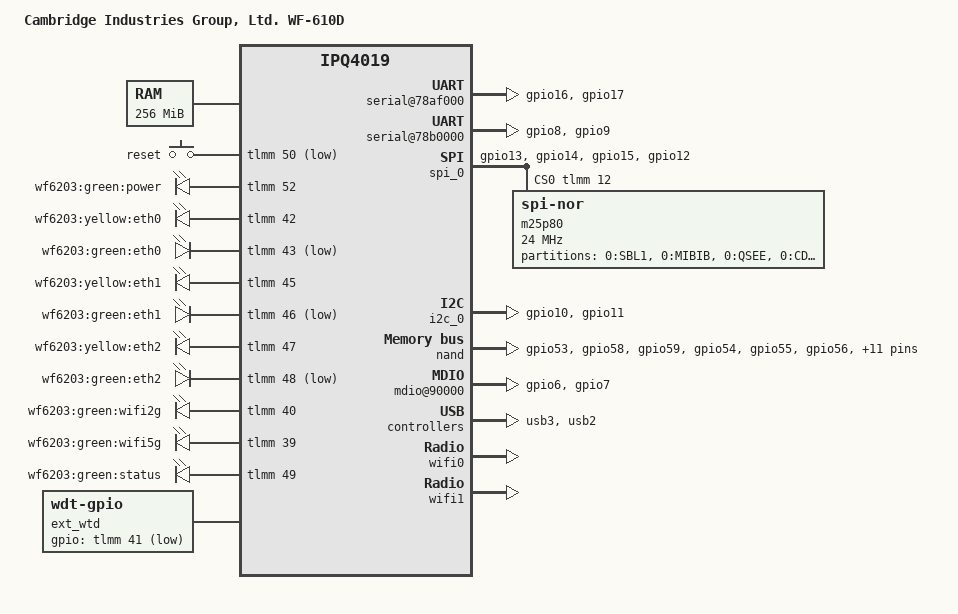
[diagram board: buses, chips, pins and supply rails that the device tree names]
/* Copyright (c) 2015, The Linux Foundation. All rights reserved.
 *
 * Permission to use, copy, modify, and/or distribute this software for any
 * purpose with or without fee is hereby granted, provided that the above
 * copyright notice and this permission notice appear in all copies.
 *
 * THE SOFTWARE IS PROVIDED "AS IS" AND THE AUTHOR DISCLAIMS ALL WARRANTIES
 * WITH REGARD TO THIS SOFTWARE INCLUDING ALL IMPLIED WARRANTIES OF
 * MERCHANTABILITY AND FITNESS. IN NO EVENT SHALL THE AUTHOR BE LIABLE FOR
 * ANY SPECIAL, DIRECT, INDIRECT, OR CONSEQUENTIAL DAMAGES OR ANY DAMAGES
 * WHATSOEVER RESULTING FROM LOSS OF USE, DATA OR PROFITS, WHETHER IN AN
 * ACTION OF CONTRACT, NEGLIGENCE OR OTHER TORTIOUS ACTION, ARISING OUT OF
 * OR IN CONNECTION WITH THE USE OR PERFORMANCE OF THIS SOFTWARE.
 *
 */
#include "qcom-ipq4019.dtsi"
#include <dt-bindings/input/input.h>
#include <dt-bindings/gpio/gpio.h>
#include <dt-bindings/soc/qcom,tcsr.h>

/ {
	model = "Cambridge Industries Group, Ltd. WF-610D";
	compatible = "cig,wf610d", "qcom,ipq4019";
	qcom,board-id = <8 0>;
	qcom,msm-id = <0x111 0>;
	qcom,pmic-id = <0 0 0 0>;

	memory {
		device_type = "memory";
		reg = <0x80000000 0x10000000>; /* 256MB */
	};

	chosen {
		bootargs-append = " clk_ignore_unused";
	};

	soc {
		pinctrl@1000000 {
			serial_0_pins: serial0_pinmux {
				mux {
					pins = "gpio16", "gpio17";
					function = "blsp_uart0";
					bias-disable;
				};
			};
	
			serial_1_pins: serial1_pinmux {
				mux {
					pins = "gpio8", "gpio9";
					function = "blsp_uart1";
					bias-disable;
				};
			};

			nand_pins: nand_pins {

				pullups {
					pins = "gpio53", "gpio58",
						"gpio59";
					function = "qpic";
					bias-pull-up;
				};

				pulldowns {
					pins = "gpio54", "gpio55", "gpio56",
						"gpio57", "gpio60", "gpio61",
						"gpio62", "gpio63", "gpio64",
						"gpio65", "gpio66", "gpio67",
						"gpio68", "gpio69";
					function = "qpic";
					bias-pull-down;
				};
			};
			led_0_pins: led0_pinmux {
				mux {
					pins = "gpio52", "gpio42", "gpio43", "gpio45", "gpio46", "gpio47", "gpio48", "gpio40", "gpio39", "gpio49";
					function = "gpio";
					drive-strength = <16>;
					bias-pull-down;
					output-low;
				};
			};

			spi_0_pins: spi_0_pinmux {
				pinmux {
					function = "blsp_spi0";
					pins = "gpio13", "gpio14", "gpio15";
				};
				pinmux_cs {
					function = "gpio";
					pins = "gpio12";
				};
				pinconf {
					pins = "gpio13", "gpio14", "gpio15";
					drive-strength = <12>;
					bias-disable;
				};
				pinconf_cs {
					pins = "gpio12";
					drive-strength = <2>;
					bias-disable;
					output-high;
				};
			};

			i2c_0_pins: i2c_0_pinmux {
				pinmux {
					function = "blsp_i2c0";
					pins = "gpio10", "gpio11";
				};
				pinconf {
					pins = "gpio10", "gpio11";
					drive-strength = <16>;
					bias-disable;
				};
			};
			mdio_pins: mdio_pinmux {
				mux_1 {
					pins = "gpio6";
					function = "mdio";
					bias-pull-up;
				};
				mux_2 {
					pins = "gpio7";
					function = "mdc";
					bias-pull-up;
				};
			};

		};

		serial@78af000 {
			pinctrl-0 = <&serial_0_pins>;
			pinctrl-names = "default";
			status = "okay";
		};
	
		serial@78b0000 {
			pinctrl-0 = <&serial_1_pins>;
			pinctrl-names = "default";
			status = "okay";
		};

		blsp_dma: dma@7884000 {
			status = "okay";
		};

		spi_0: spi@78b5000 { 
			pinctrl-0 = <&spi_0_pins>;
			pinctrl-names = "default";
			status = "okay";
			cs-gpios = <&tlmm 12 GPIO_ACTIVE_HIGH>;

			m25p80@0 {
				#address-cells = <1>;
				#size-cells = <1>;
				reg = <0>;
				compatible = "jedec,spi-nor";
				linux,modalias = "m25p80", "n25q128a11";
				spi-max-frequency = <24000000>;
				partitions {
					compatible = "fixed-partitions";
					#address-cells = <1>;
					#size-cells = <1>;
	
					SBL1@0 {
						label = "0:SBL1";
						reg = <0x0 0x40000>;
						read-only;
					};
		
					MIBIB@40000 {
						label = "0:MIBIB";
						reg = <0x40000 0x20000>;
						read-only;
					};
		
					QSEE@60000 {
						label = "0:QSEE";
						reg = <0x60000 0x60000>;
						read-only;
					};
		
					CDT@c0000 {
						label = "0:CDT";
						reg = <0xc0000 0x10000>;
						read-only;
					};
		
					DDRPARAMS@d0000 {
						label = "0:DDRPARAMS";
						reg = <0xd0000 0x10000>;
						read-only;
					};
		
					APPSBLENV@e0000 {
						label = "0:APPSBLENV";
						reg = <0xe0000 0x10000>;
						read-only;
					};
		
					APPSBL@f0000 {
						label = "0:APPSBL";
						reg = <0xf0000 0x80000>;
						read-only;
					};
		
					ART@170000 {
						label = "0:ART";
						reg = <0x170000 0x10000>;
						read-only;
					};
	
					firmware@180000 {
						compatible = "denx,fit";
						label = "firmware";
						reg = <0x180000 0x1e70000>;
					};

					certificates@1ff0000 {
						compatible = "denx,fit";
						label = "certificates";
						reg = <0x1ff0000 0x10000>;
					};
				};
			};
		};

		i2c_0: i2c@78b7000 { /* BLSP1 QUP2 */
			pinctrl-0 = <&i2c_0_pins>;
			pinctrl-1 = <&i2c_0_pins>;
			pinctrl-names = "i2c_active", "i2c_sleep";
			status = "okay";

			qca_codec: qca_codec@12 {
				compatible = "qca,ipq40xx-codec";
				reg = <0x12>;
				status = "disabled";
			};

			lcd_ts: lcd_ts@40 {
				compatible = "qca,gsl1680_ts";
				reg = <0x40>;
				status = "disabled";
			};
		};



		cryptobam: dma@8e04000 {
			status = "okay";
		};

		crypto@8e3a000 {
			status = "okay";
		};

		gpio_keys {
			compatible = "gpio-keys";
	
			reset {
				label = "reset";
				linux,code = <KEY_RESTART>;
				gpios = <&tlmm 50 GPIO_ACTIVE_LOW>;
				linux,input-type = <1>;
			};
		};

		gpio-leds {
			compatible = "gpio-leds";
			pinctrl-0 = <&led_0_pins>;

			wf6203_green_power {
					gpios = <&tlmm 52 0>;
					label = "wf6203:green:power";
					default-state = "off";
			};
			wf6203_yellow_eth0 {
					gpios = <&tlmm 42 0>;
					label = "wf6203:yellow:eth0";
					default-state = "off";
			};
			wf6203_green_eth0 {
					gpios = <&tlmm 43 GPIO_ACTIVE_LOW>;
					label = "wf6203:green:eth0";
					default-state = "off";
			};
			wf6203_yellow_eth1 {
					gpios = <&tlmm 45 0>;
					label = "wf6203:yellow:eth1";
					default-state = "off";
			};
			wf6203_green_eth1 {
					gpios = <&tlmm 46 GPIO_ACTIVE_LOW>;
					label = "wf6203:green:eth1";
					default-state = "off";
			};
			wf6203_yellow_eth2 {
					gpios = <&tlmm 47 0>;
					label = "wf6203:yellow:eth2";
					default-state = "off";
			};
			wf6203_green_eth2 {
					gpios = <&tlmm 48 GPIO_ACTIVE_LOW>;
					label = "wf6203:green:eth2";
					default-state = "off";
			};																
			wf6203_green_wifi2g {
					gpios = <&tlmm 40 0>;
					label = "wf6203:green:wifi2g";
					default-state = "off";
			};
			wf6203_green_wifi5g {
					gpios = <&tlmm 39 0>;
					label = "wf6203:green:wifi5g";
					default-state = "off";
			};				
			wf6203_green_status {
					gpios = <&tlmm 49 0>;
					label = "wf6203:green:status";
					default-state = "off";
			};								
		};


		watchdog@b017000 {
			timeout-sec = <60>;
			status = "okay";
		};

		qpic_bam: dma@7984000 {
			status = "okay";
		};

		nand: qpic-nand@79b0000 {
			pinctrl-0 = <&nand_pins>;
			pinctrl-names = "default";
			status = "okay";
		};

		mdio@90000 {
			pinctrl-0 = <&mdio_pins>;
			pinctrl-names = "default";
			phy-reset-gpio = <&tlmm 18 0>;
			status = "okay";
			bias-disable;
		};

		ess-switch@c000000 {
			switch_lan_bmp = <0x3e>; /* lan port bitmap */
			switch_wan_bmp = <1>; /* wan port bitmap */
			status = "okay";
		};

		ess-psgmii@98000 {
			status = "okay";
		};

		edma@c080000 {
			status = "okay";
		};

		usb3_ss_phy: ssphy@9a000 {
			status = "okay";
		};

		usb3_hs_phy: hsphy@a6000 {
			status = "okay";
		};

		usb3: usb3@8af8800 {
			status = "okay";
		};

		usb2_hs_phy: hsphy@a8000 {
			status = "okay";
		};

		usb2: usb2@60f8800 {
			status = "okay";
		};

		ext_wtd {
			compatible = "linux,wdt-gpio";
			gpios = <&tlmm 41 GPIO_ACTIVE_LOW>;
			hw_algo = "toggle";
			hw_margin_ms = <1000>;
			always-running;
		};

		tcsr@1949000 {
			compatible = "qcom,tcsr";
			reg = <0x1949000 0x100>;
			qcom,wifi_glb_cfg = <TCSR_WIFI_GLB_CFG>;
		};

		tcsr@1957000 {
			compatible = "qcom,tcsr";
			reg = <0x1957000 0x100>;
			qcom,wifi_noc_memtype_m0_m2 = <TCSR_WIFI_NOC_MEMTYPE_M0_M2>;
		};

		wifi0: wifi@a000000 {
			qcom,ath10k-calibration-variant = "CIG WF_610D";
			status = "okay";
		};
	
		wifi1: wifi@a800000 {
			qcom,ath10k-calibration-variant = "CIG WF_610D";
			status = "okay";
		};
	};

};
